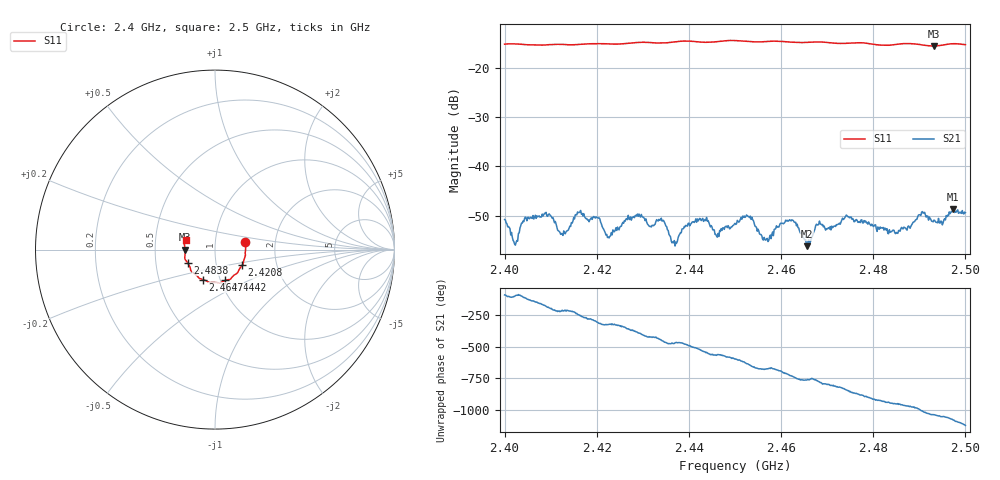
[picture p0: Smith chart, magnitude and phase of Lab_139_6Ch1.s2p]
# Hz S RI R 50
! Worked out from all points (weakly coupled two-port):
!   601 points, 2.4 GHz to 2.5 GHz, reference 50 ohm
!   highest |S21| = -48.62 dB at 2.4973 GHz (marker M1); lowest = -56.1 dB at 2.4657 GHz (marker M2)
!   lowest |S11| = -15.6 dB at 2.4932 GHz (marker M3), VSWR 1.40, Z = 35.8 - j0.0946 ohm
!   |S11| at or under -10 dB: start of sweep to end of sweep
!   S12 and S22 are empty: the file has one direction only
!   S11 on the Smith chart (normalised r, x): 2.4 GHz: 1.40, +0.12; 2.4208 GHz: 1.33, -0.24; 2.4442 GHz: 1.05, -0.37; 2.4647 GHz: 0.83, -0.29; 2.4838 GHz: 0.73, -0.11; 2.5 GHz: 0.72, +0.08
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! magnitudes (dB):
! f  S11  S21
! 2.4 GHz  -15.2  -50.8
! 2.4023 GHz  -15.2  -55.9
! 2.4048 GHz  -15.4  -51.0
! 2.4127 GHz  -15.3  -54.0
! 2.4167 GHz  -15.2  -49.7
! 2.4208 GHz  -15.1  -51.3
! 2.4225 GHz  -15.2  -54.3
! 2.4333 GHz  -15.0  -51.0
! 2.4368 GHz  -14.8  -55.0
! 2.4442 GHz  -14.9  -51.0
! 2.45 GHz  -14.5  -51.5
! 2.4568 GHz  -14.7  -54.7
! 2.4622 GHz  -14.8  -51.0
! 2.4647 GHz  -14.9  -54.2
! 2.4657 GHz  -14.9  -56.1
! 2.4667 GHz  -14.8  -54.3
! 2.4743 GHz  -15.1  -50.0
! 2.4833 GHz  -15.5  -53.6
! 2.4838 GHz  -15.4  -53.2
! 2.4932 GHz  -15.6  -50.9
! 2.4973 GHz  -15.1  -48.6
! 2.5 GHz  -15.3  -49.4
